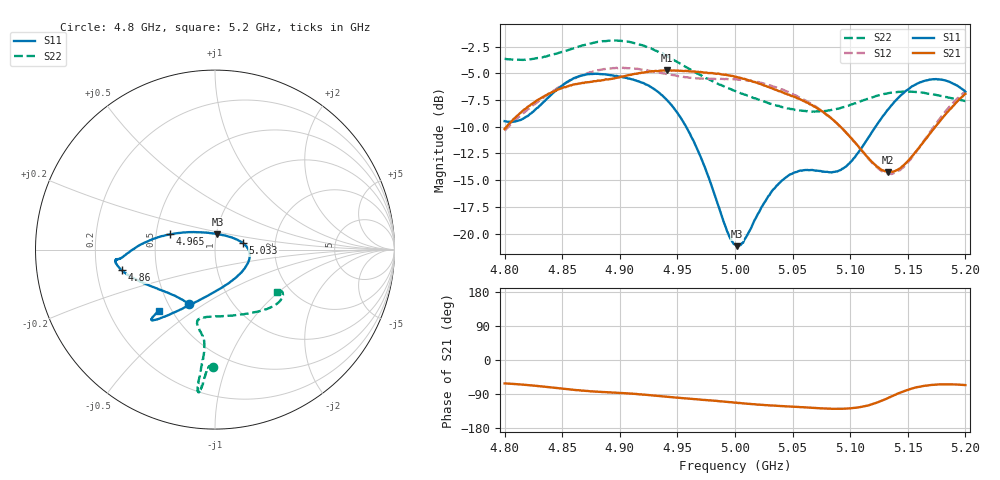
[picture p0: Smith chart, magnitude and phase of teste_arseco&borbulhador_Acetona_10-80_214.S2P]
! Network Analyzer HP8722D
! Hewlett-Packard
! Data name: Linha & Wilkinson
! Saver's name: Rodrigo Anjos
! Comments: Teste da utilização de aquisição
! continua pelo VNA HP8722D
! Time and date: 17/4/2025 16:08
!  Frequency  S11  S21  S12  S22
# HZ  S  MA R 50
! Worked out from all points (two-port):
!   401 points, 4.8 GHz to 5.2 GHz, reference 50 ohm
!   highest |S21| = -4.71 dB at 4.941 GHz (marker M1); lowest = -14.2 dB at 5.133 GHz (marker M2)
!   |S21| within 3 dB of the highest: 4.826 GHz to 5.062 GHz (236 MHz wide, 4.77 % of centre); 5.192324 GHz to end of sweep
!   lowest |S11| = -21.2 dB at 5.002 GHz (marker M3), VSWR 1.19, Z = 50.6 + j8.79 ohm
!   |S11| at or under -10 dB: 4.958 GHz to 5.122 GHz (164.5 MHz wide, 3.26 % of centre)
!   |S22| runs from -8.6 to -1.9 dB; largest |S21 - S12| = 0.87
!   S11 on the Smith chart (normalised r, x): 4.8 GHz: 0.63, -0.43; 4.86 GHz: 0.31, -0.10; 4.965 GHz: 0.59, +0.11; 5.033 GHz: 1.37, +0.10; 5.2 GHz: 0.43, -0.37
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4.8e9  0.3356 -115.9  0.3087 -61.9  0.3027 -176.1  0.6569 -91.0
4.819e9  0.3527 -136.2  0.3868 -65.9  0.3759 -175.4  0.6535 -92.7
4.86e9  0.5332 -167.6  0.4985 -78.6  0.529 -178.7  0.7361 -95.0
4.867e9  0.549 -170.3  0.5062 -80.8  0.5501 -180.0  0.7572 -95.3
4.899e9  0.543 -174.5  0.5374 -86.9  0.5958 173.7  0.7978 -96.7
4.934e9  0.4565 179.7  0.5766 -95.2  0.5688 170.5  0.7047 -96.9
4.941e9  0.4212 176.6  0.5811 -97.0  0.5579 170.6  0.6757 -96.7
4.965e9  0.264 161.2  0.5729 -103.4  0.5334 172.5  0.5706 -96.1
4.993e9  0.1029 114.6  0.5512 -110.5  0.528 174.7  0.4826 -98.6
5e9  0.08892 89.2  0.5419 -112.5  0.5271 174.7  0.4649 -100.0
5.002e9  0.0873 81.2  0.5385 -113.1  0.5255 174.7  0.4612 -100.5
5.009e9  0.09513 56.3  0.5278 -114.9  0.5239 174.6  0.4459 -101.9
5.033e9  0.1603 13.1  0.4763 -120.2  0.4875 173.2  0.4009 -103.5
5.049e9  0.1899 -2.4  0.4402 -122.9  0.4525 172.8  0.3825 -99.1
5.067e9  0.1984 -21.6  0.3988 -126.1  0.4031 172.5  0.3717 -89.1
5.096e9  0.2054 -72.0  0.2986 -128.2  0.2988 174.6  0.3933 -66.4
5.121e9  0.3097 -110.1  0.2111 -114.8  0.2093 -169.7  0.4373 -49.6
5.133e9  0.3812 -119.4  0.1943 -100.0  0.1907 -153.1  0.4536 -43.6
5.134e9  0.3871 -120.2  0.1944 -98.7  0.1904 -151.7  0.4549 -43.2
5.148e9  0.4636 -126.7  0.2128 -80.8  0.209 -131.0  0.4619 -37.9
5.167e9  0.5211 -131.1  0.2824 -67.1  0.2862 -113.6  0.4523 -33.4
5.2e9  0.4611 -132.6  0.4506 -66.2  0.4632 -108.2  0.4165 -34.6
